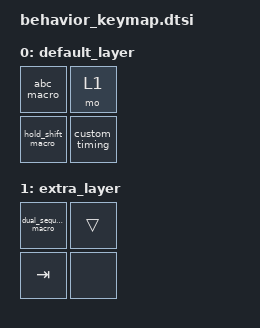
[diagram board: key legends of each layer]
/*
 * Copyright (c) 2022 The ZMK Contributors
 *
 * SPDX-License-Identifier: MIT
 */

#include <dt-bindings/zmk/keys.h>
#include <behaviors.dtsi>
#include <dt-bindings/zmk/kscan_mock.h>

/ {
    macros {
        ZMK_MACRO(abc_macro,
            wait-ms = <10>;
            tap-ms = <50>;
            bindings = <&kp A &kp B &kp C>;
        )

        ZMK_MACRO(hold_shift_macro,
            bindings
                = <&macro_press &kp LSHFT>
                , <&macro_tap>
                , <&kp D &kp O &kp G>
                , <&macro_release &kp LSHFT>
                ;
        )

        ZMK_MACRO(custom_timing,
            bindings
                = <&macro_wait_time 50>
                , <&kp A>
                , <&macro_tap_time 20>
                , <&kp B &kp C>
                ;
        )

        ZMK_MACRO(dual_sequence_macro,
            wait-ms = <10>;
            tap-ms = <40>;
            bindings
                = <&macro_press &kp LALT>
                , <&macro_tap>
                , <&kp TAB>
                , <&macro_pause_for_release>
                , <&macro_release &kp LALT>
                ;
        )
    };

    keymap {
        compatible = "zmk,keymap";

        default_layer {
            bindings = <
                &abc_macro &mo 1
                &hold_shift_macro &custom_timing>;
        };

        extra_layer {
            bindings = <
                &dual_sequence_macro &trans
                &kp TAB &none>;

        };

    };
};
